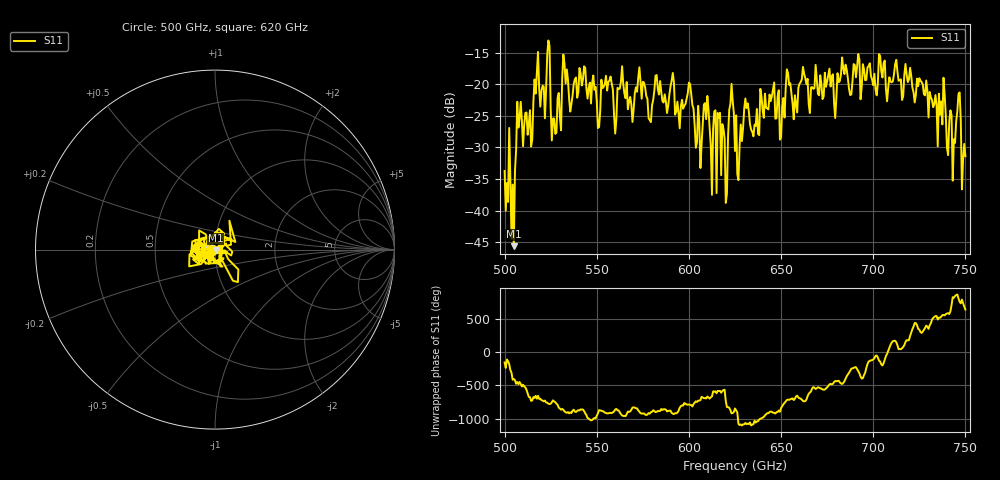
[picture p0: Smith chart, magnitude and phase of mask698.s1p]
!Created with skrf (http://scikit-rf.org).
# GHz S MA R 50.0
!freq magS11 angS11
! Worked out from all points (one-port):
!   401 points, 500 GHz to 750 GHz, reference 50 ohm
!   lowest |S11| = -45.6 dB at 505 GHz (marker M1), VSWR 1.01, Z = 50.4 - j0.376 ohm
!   |S11| at or under -10 dB: start of sweep to end of sweep
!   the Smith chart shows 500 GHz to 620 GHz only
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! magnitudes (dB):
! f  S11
! 500 GHz  -33.7
! 505 GHz  -45.6
! 508.1 GHz  -25.4
! 513.8 GHz  -24.1
! 516.9 GHz  -21.5
! 523.8 GHz  -13.1
! 526.9 GHz  -25.4
! 531.2 GHz  -19.0
! 556.2 GHz  -19.7
! 560.6 GHz  -25.6
! 562.5 GHz  -20.7
! 579.4 GHz  -26.0
! 590.6 GHz  -19.4
! 593.8 GHz  -22.8
! 600.6 GHz  -20.0
! 605 GHz  -23.4
! 609.4 GHz  -25.5
! 620 GHz  -38.8
! 623.1 GHz  -19.9
! 625 GHz  -30.6
! 627.5 GHz  -29.8
! 631.2 GHz  -23.8
! 656.2 GHz  -23.1
! 687.5 GHz  -21.7
! 718.8 GHz  -19.7
! 743.8 GHz  -28.7
! 746.2 GHz  -21.6
! 750 GHz  -31.4
